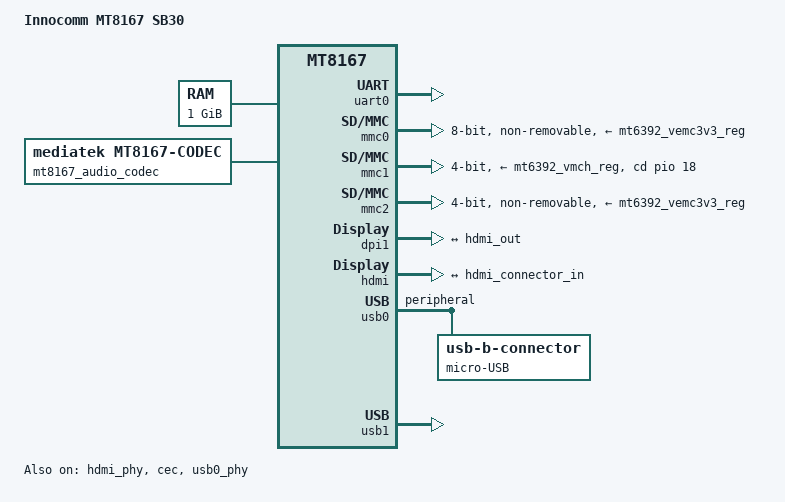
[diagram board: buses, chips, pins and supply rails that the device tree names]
// SPDX-License-Identifier: GPL-2.0
/*
 * Copyright (c) 2020 BayLibre, SAS.
 * Author: Fabien Parent <fparent@baylibre.com>
 */

/dts-v1/;

#include <dt-bindings/gpio/gpio.h>

#include "mt8167.dtsi"
#include "mt6392.dtsi"

/ {
	model = "Innocomm MT8167 SB30";

	aliases {
		serial0 = &uart0;
	};

	chosen {
		stdout-path = "serial0:921600n8";
	};

	memory@40000000 {
		device_type = "memory";
		reg = <0 0x40000000 0 0x40000000>;
	};
        
	/* reserved for android overlay */
        reserved_memory: reserved-memory {
        };

	firmware {
		optee: optee@4fd00000 {
			compatible = "linaro,optee-tz";
			method = "smc";
		};
	};

	mt8167_audio_codec: mt8167_audio_codec {
		compatible = "mediatek,mt8167-codec";
		clocks = <&topckgen CLK_TOP_AUDIO>;
		clock-names = "bus";
		mediatek,afe-regmap = <&afe>;
		mediatek,apmixedsys-regmap = <&apmixedsys>;
		mediatek,pwrap-regmap = <&pwrap>;
		mediatek,speaker-mode = <0>; /* 0(CLASSD) 1(CLASSAB) */
		mediatek,dmic-wire-mode = <1>; /* 0(ONE_WIRE) 1(TWO_WIRE) */
	};

	sound: sound {
		compatible = "mediatek,mt8516-soc-pumpkin";
		mediatek,platform = <&afe>;
		mediatek,audio-codec = <&mt8167_audio_codec>;
		status = "okay";
	};
};

&cpu0 {
	proc-supply = <&mt6392_vproc_reg>;
};

&cpu1 {
	proc-supply = <&mt6392_vproc_reg>;
};

&cpu2 {
	proc-supply = <&mt6392_vproc_reg>;
};

&cpu3 {
	proc-supply = <&mt6392_vproc_reg>;
};

&mt6392_pmic {
	interrupt-parent = <&pio>;
	interrupts = <28 IRQ_TYPE_LEVEL_HIGH>;
	interrupt-controller;
	#interrupt-cells = <2>;
};

&uart0 {
	status = "okay";
};

&pio {
	mmc0_pins_default: mmc0default {
		pins_cmd_dat {
			pinmux = <MT8167_PIN_120_MSDC0_DAT0__FUNC_MSDC0_DAT0>,
				 <MT8167_PIN_119_MSDC0_DAT1__FUNC_MSDC0_DAT1>,
				 <MT8167_PIN_118_MSDC0_DAT2__FUNC_MSDC0_DAT2>,
				 <MT8167_PIN_117_MSDC0_DAT3__FUNC_MSDC0_DAT3>,
				 <MT8167_PIN_113_MSDC0_DAT4__FUNC_MSDC0_DAT4>,
				 <MT8167_PIN_112_MSDC0_DAT5__FUNC_MSDC0_DAT5>,
				 <MT8167_PIN_111_MSDC0_DAT6__FUNC_MSDC0_DAT6>,
				 <MT8167_PIN_110_MSDC0_DAT7__FUNC_MSDC0_DAT7>,
				 <MT8167_PIN_115_MSDC0_CMD__FUNC_MSDC0_CMD>;
			input-enable;
			bias-pull-up;
		};

		pins_clk {
			pinmux = <MT8167_PIN_116_MSDC0_CLK__FUNC_MSDC0_CLK>;
			bias-pull-down;
		};

		pins_rst {
			pinmux = <MT8167_PIN_114_MSDC0_RSTB__FUNC_MSDC0_RSTB>;
			bias-pull-up;
		};
	};

	mmc0_pins_uhs: mmc0@0{
		pins_cmd_dat {
			pinmux = <MT8167_PIN_120_MSDC0_DAT0__FUNC_MSDC0_DAT0>,
				 <MT8167_PIN_119_MSDC0_DAT1__FUNC_MSDC0_DAT1>,
				 <MT8167_PIN_118_MSDC0_DAT2__FUNC_MSDC0_DAT2>,
				 <MT8167_PIN_117_MSDC0_DAT3__FUNC_MSDC0_DAT3>,
				 <MT8167_PIN_113_MSDC0_DAT4__FUNC_MSDC0_DAT4>,
				 <MT8167_PIN_112_MSDC0_DAT5__FUNC_MSDC0_DAT5>,
				 <MT8167_PIN_111_MSDC0_DAT6__FUNC_MSDC0_DAT6>,
				 <MT8167_PIN_110_MSDC0_DAT7__FUNC_MSDC0_DAT7>,
				 <MT8167_PIN_115_MSDC0_CMD__FUNC_MSDC0_CMD>;
			input-enable;
			drive-strength = <MTK_DRIVE_6mA>;
			bias-pull-up = <MTK_PUPD_SET_R1R0_01>;
		};

		pins_clk {
			pinmux = <MT8167_PIN_116_MSDC0_CLK__FUNC_MSDC0_CLK>;
			drive-strength = <MTK_DRIVE_8mA>;
			bias-pull-down = <MTK_PUPD_SET_R1R0_10>;
		};

		pins_rst {
			pinmux = <MT8167_PIN_114_MSDC0_RSTB__FUNC_MSDC0_RSTB>;
			bias-pull-up;
		};
	};

	hdmi_pins_default: hdmi_pins_default {
		pins_pwr {
			pinmux = <MT8167_PIN_20_EINT20__FUNC_GPIO20>;
			output-high;
		};
	};

	hdmi_pins_hpd: hdmi_pins_hpd {
		pins_cmd_dat {
			pinmux = <MT8167_PIN_122_HTPLG__FUNC_HTPLG>;
			bias-pull-down;
		};
	};

	mmc1_pins_default: mmc1default {
		pins_cmd_dat {
			pinmux = <MT8167_PIN_106_MSDC1_DAT0__FUNC_MSDC1_DAT0>,
				 <MT8167_PIN_107_MSDC1_DAT1__FUNC_MSDC1_DAT1>,
				 <MT8167_PIN_108_MSDC1_DAT2__FUNC_MSDC1_DAT2>,
				 <MT8167_PIN_109_MSDC1_DAT3__FUNC_MSDC1_DAT3>,
				 <MT8167_PIN_104_MSDC1_CMD__FUNC_MSDC1_CMD>;
			input-enable;
			drive-strength = <MTK_DRIVE_6mA>;
			bias-pull-up = <MTK_PUPD_SET_R1R0_01>;
		};

		pins_clk {
			pinmux = <MT8167_PIN_105_MSDC1_CLK__FUNC_MSDC1_CLK>;
			drive-strength = <MTK_DRIVE_6mA>;
			bias-pull-down = <MTK_PUPD_SET_R1R0_10>;
		};

		pin_cd {
			pinmux = <MT8167_PIN_18_EINT18__FUNC_GPIO18>;
			bias-pull-up;
			input-enable;
		};

		pins_3v3 {
			pinmux = <MT8167_PIN_2_EINT2__FUNC_GPIO2>;
			output-high;
		};
	};

	mmc1_pins_uhs: mmc1@0 {
		pins_cmd_dat {
			pinmux = <MT8167_PIN_106_MSDC1_DAT0__FUNC_MSDC1_DAT0>,
				 <MT8167_PIN_107_MSDC1_DAT1__FUNC_MSDC1_DAT1>,
				 <MT8167_PIN_108_MSDC1_DAT2__FUNC_MSDC1_DAT2>,
				 <MT8167_PIN_109_MSDC1_DAT3__FUNC_MSDC1_DAT3>,
				 <MT8167_PIN_104_MSDC1_CMD__FUNC_MSDC1_CMD>;
			input-enable;
			drive-strength = <MTK_DRIVE_6mA>;
			bias-pull-up = <MTK_PUPD_SET_R1R0_01>;
		};

		pins_clk {
			pinmux = <MT8167_PIN_105_MSDC1_CLK__FUNC_MSDC1_CLK>;
			drive-strength = <MTK_DRIVE_8mA>;
			bias-pull-down = <MTK_PUPD_SET_R1R0_10>;
		};
	};

	mmc2_pins_default: mmc2default {
		pins_cmd_dat {
			pinmux = <MT8167_PIN_70_MSDC2_DAT0__FUNC_MSDC2_DAT0>,
				 <MT8167_PIN_71_MSDC2_DAT1__FUNC_MSDC2_DAT1>,
				 <MT8167_PIN_72_MSDC2_DAT2__FUNC_MSDC2_DAT2>,
				 <MT8167_PIN_73_MSDC2_DAT3__FUNC_MSDC2_DAT3>,
				 <MT8167_PIN_68_MSDC2_CMD__FUNC_MSDC2_CMD>;
			input-enable;
			bias-pull-up = <MTK_PUPD_SET_R1R0_01>;
		};

		pins_clk {
			pinmux = <MT8167_PIN_69_MSDC2_CLK__FUNC_MSDC2_CLK>;
			bias-pull-down = <MTK_PUPD_SET_R1R0_10>;
		};
	};

	mmc2_pins_uhs: mmc2@0 {
		pins_cmd_dat {
			pinmux = <MT8167_PIN_70_MSDC2_DAT0__FUNC_MSDC2_DAT0>,
				 <MT8167_PIN_71_MSDC2_DAT1__FUNC_MSDC2_DAT1>,
				 <MT8167_PIN_72_MSDC2_DAT2__FUNC_MSDC2_DAT2>,
				 <MT8167_PIN_73_MSDC2_DAT3__FUNC_MSDC2_DAT3>,
				 <MT8167_PIN_68_MSDC2_CMD__FUNC_MSDC2_CMD>;
			input-enable;
			drive-strength = <MTK_DRIVE_6mA>;
			bias-pull-up = <MTK_PUPD_SET_R1R0_01>;
		};

		pins_clk {
			pinmux = <MT8167_PIN_69_MSDC2_CLK__FUNC_MSDC2_CLK>;
			drive-strength = <MTK_DRIVE_8mA>;
			bias-pull-down = <MTK_PUPD_SET_R1R0_10>;
		};
	};

	usb1_default_pins: usb1_pins {
		hub_5v {
			pinmux = <MT8167_PIN_46_JTDI__FUNC_GPIO46>;
			output-high;
		};

		hub_3v3 {
			pinmux = <MT8167_PIN_47_JTDO__FUNC_GPIO47>;
			output-high;
		};

		hub_reset {
			pinmux = <MT8167_PIN_45_JTCK__FUNC_GPIO45>;
			output-low;
		};

		ethernet_reset {
			pinmux = <MT8167_PIN_15_EINT15__FUNC_GPIO15>;
			output-low;
		};

		ethernet_en {
			pinmux = <MT8167_PIN_51_SPI_MO__FUNC_GPIO51>;
			output-high;
		};
	};
};

&mmc0 {
	pinctrl-names = "default", "state_uhs";
	pinctrl-0 = <&mmc0_pins_default>;
	pinctrl-1 = <&mmc0_pins_uhs>;
	status = "okay";
	bus-width = <8>;
	max-frequency = <200000000>;
	cap-mmc-highspeed;
	mmc-hs200-1_8v;
	cap-mmc-hw-reset;
	vmmc-supply = <&mt6392_vemc3v3_reg>;
	vqmmc-supply = <&mt6392_vio18_reg>;
	non-removable;
};

&mmc1 {
	pinctrl-names = "default", "state_uhs";
	pinctrl-0 = <&mmc1_pins_default>;
	pinctrl-1 = <&mmc1_pins_uhs>;
	cd-gpios = <&pio 18 GPIO_ACTIVE_HIGH>;
	bus-width = <4>;
	max-frequency = <200000000>;
	cap-sd-highspeed;
	sd-uhs-sdr50;
	sd-uhs-sdr104;
	vmmc-supply = <&mt6392_vmch_reg>;
	vqmmc-supply = <&mt6392_vio18_reg>;
	status = "okay";
};

&mmc2 {
	pinctrl-names = "default", "state_uhs";
	pinctrl-0 = <&mmc2_pins_default>;
	pinctrl-1 = <&mmc2_pins_uhs>;
	bus-width = <4>;
	max-frequency = <200000000>;
	cap-sd-highspeed;
	sd-uhs-sdr50;
	sd-uhs-sdr104;
	keep-power-in-suspend;
	enable-sdio-wakeup;
	cap-sdio-irq;
	vmmc-supply = <&mt6392_vemc3v3_reg>;
	vqmmc-supply = <&mt6392_vio18_reg>;
	non-removable;
	status = "okay";

	mt7668 {
		wifi: mt7668-wifi@0 {
			compatible = "mediatek,mt8516-wifi",
				     "mediatek,mt7668-wifi";
			mac-address = [00 00 00 00 00 00];
		};

		bluetooth: mt7668-bluetooth@0 {
			compatible = "mediatek,mt8516-bluetooth",
				     "mediatek,mt7668-bluetooth";
			mac-address = [00 00 00 00 00 00];
		};
	};
};

&dpi1 {
	status = "okay";
	ddc-i2c-bus = <&hdmiddc>;

	port {
		hdmi_connector_in: endpoint@0 {
			remote-endpoint = <&hdmi_out>;
		};
	};
};

&hdmi_phy {
	status = "okay";
};

&cec {
	status = "okay";
};

&hdmi {
	pinctrl-names = "default", "hdmi_hpd";
	pinctrl-0 = <&hdmi_pins_default>;
	pinctrl-1 = <&hdmi_pins_hpd>;
	status = "okay";

	ports {
		#address-cells = <1>;
		#size-cells = <0>;

		port@1 {
			reg = <1>;

			hdmi_out: endpoint {
				remote-endpoint = <&hdmi_connector_in>;
			};
		};
	};
};

&usb0 {
	status = "okay";
	dr_mode = "peripheral";

	usb_con: connector {
		compatible = "usb-b-connector";
		label = "micro-USB";
		type = "micro";
	};
};

&usb0_phy {
	status = "okay";
};

&usb1 {
	pinctrl-names = "default";
	pinctrl-0 = <&usb1_default_pins>;
	status = "okay";
};

&afe {
	/* 0(HDMI) 1(I2S) 2(TDM) */
	mediatek,tdm-out-mode = <1>;
	/* 0(IR1) 1(IRQ2) 4(IRQ7)*/
	mediatek,awb-irq-mode = <4>;
	/*0(Spearated Mode) 1(Share Mode)*/
	mediatek,i2s-clock-modes = <1 1>;
};
